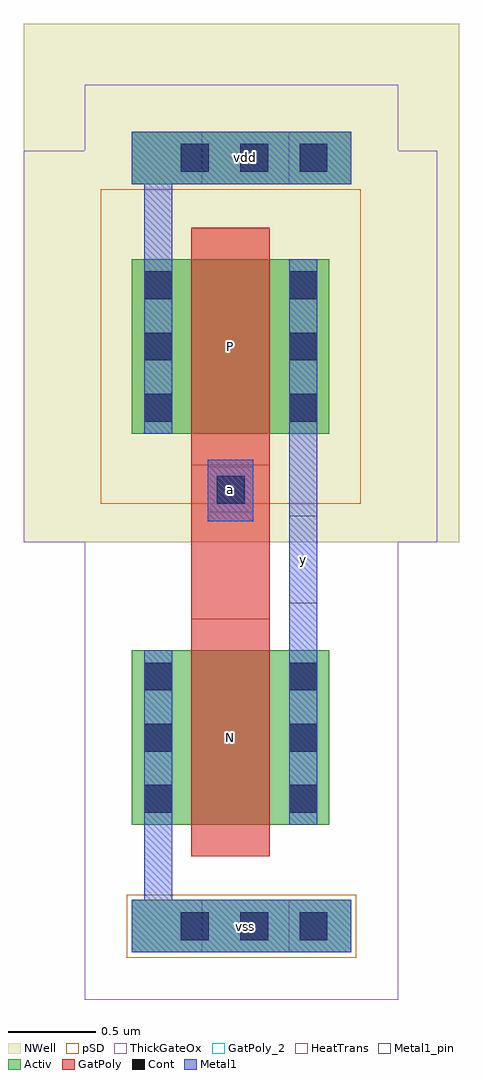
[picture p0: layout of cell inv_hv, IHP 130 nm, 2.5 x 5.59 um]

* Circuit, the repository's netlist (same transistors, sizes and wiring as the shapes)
* SPDX-FileCopyrightText: 2026 Christoph Maier
* SPDX-License-Identifier: Apache-2.0
* inv_hv (Claude, agent D, C4 2026-11-07). hv devices 1u/0.45u; every device as drawn.

.SUBCKT inv_hv a vdd vss y
MP y a vdd vdd sg13_hv_pmos w=1u l=0.45u ng=1 m=1
MN y a vss vss sg13_hv_nmos w=1u l=0.45u ng=1 m=1
.ENDS inv_hv

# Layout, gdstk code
import gdstk
lib = gdstk.Library(unit=1e-6, precision=1e-09)
def R(c, l, rs):  # rectangles x0, y0, x1, y1
    for r in rs: c.add(gdstk.rectangle(r[:2], r[2:], *l))
def A(c, l, x, y, w, h, nx, ny, dx, dy):  # array of equal rectangles
    R(c, l, [(x+i*dx, y+j*dy, x+i*dx+w, y+j*dy+h) for i in range(nx) for j in range(ny)])
Activ = (1, 0)
GatPoly = (5, 0)
GatPoly_2 = (5, 2)
Cont = (6, 0)
Metal1 = (8, 0)
Metal1_pin = (8, 2)
pSD = (14, 0)
NWell = (31, 0)
ThickGateOx = (44, 0)
HeatTrans = (51, 0)

pmoshv_w1_l0p45 = lib.new_cell('pmosHV_w1_l0p45')
R(pmoshv_w1_l0p45, Activ, [(0,0,0.3,0.3), (0,0,1.13,1), (0.83,0,1.13,0.3)])
R(pmoshv_w1_l0p45, GatPoly, [(0.34,-0.18,0.79,1.18)])
R(pmoshv_w1_l0p45, GatPoly_2, [(0.34,-0.18,0.79,1.18)])
A(pmoshv_w1_l0p45, Cont, 0.07, 0.07, 0.16, 0.16, 1, 3, 0, 0.35)
A(pmoshv_w1_l0p45, Cont, 0.9, 0.07, 0.16, 0.16, 1, 3, 0, 0.35)
R(pmoshv_w1_l0p45, Metal1, [(0.07,0,0.23,1), (0.9,0,1.06,1)])
R(pmoshv_w1_l0p45, Metal1_pin, [(0.07,0,0.23,1), (0.9,0,1.06,1)])
R(pmoshv_w1_l0p45, pSD, [(-0.18,-0.4,1.31,1.4)])
R(pmoshv_w1_l0p45, NWell, [(-0.62,-0.62,1.75,1.62)])
R(pmoshv_w1_l0p45, ThickGateOx, [(-0.62,-0.62,1.75,1.62)])
R(pmoshv_w1_l0p45, HeatTrans, [(0.34,-0.18,0.79,1.18)])
pmoshv_w1_l0p45.add(gdstk.Label('pmosHV', (0.565,0.5), layer=63, texttype=0))
pmoshv_w1_l0p45.add(gdstk.Label('pmos', (0.565,0.5), layer=51, texttype=0))

nmoshv_w1_l0p45 = lib.new_cell('nmosHV_w1_l0p45')
R(nmoshv_w1_l0p45, Activ, [(0,0,0.3,0.3), (0,0,1.13,1), (0.83,0,1.13,0.3)])
R(nmoshv_w1_l0p45, GatPoly, [(0.34,-0.18,0.79,1.18)])
R(nmoshv_w1_l0p45, GatPoly_2, [(0.34,-0.18,0.79,1.18)])
A(nmoshv_w1_l0p45, Cont, 0.07, 0.07, 0.16, 0.16, 1, 3, 0, 0.35)
A(nmoshv_w1_l0p45, Cont, 0.9, 0.07, 0.16, 0.16, 1, 3, 0, 0.35)
R(nmoshv_w1_l0p45, Metal1, [(0.07,0,0.23,1), (0.9,0,1.06,1)])
R(nmoshv_w1_l0p45, Metal1_pin, [(0.07,0,0.23,1), (0.9,0,1.06,1)])
R(nmoshv_w1_l0p45, ThickGateOx, [(-0.27,-0.52,1.4,1.52)])
R(nmoshv_w1_l0p45, HeatTrans, [(0.34,-0.18,0.79,1.18)])
nmoshv_w1_l0p45.add(gdstk.Label('nmosHV', (0.565,0.5), layer=63, texttype=0))
nmoshv_w1_l0p45.add(gdstk.Label('nmosHV', (0.565,0.5), layer=51, texttype=0))

inv_hv = lib.new_cell('inv_hv')
R(inv_hv, Activ, [(0,0,1.255,0.3), (0,4.4,1.255,4.7)])
R(inv_hv, GatPoly, [(0.34,1.91,0.79,2.79)])
A(inv_hv, Cont, 0.28, 0.07, 0.16, 0.16, 3, 2, 0.34, 4.4)
R(inv_hv, Cont, [(0.485,2.57,0.645,2.73)])
R(inv_hv, Metal1, [(0,0,1.255,0.3), (0.07,0.3,0.23,0.73), (0.9,1.73,1.06,2.97), (0.435,2.47,0.695,2.82), (0.07,3.97,0.23,4.4), (0,4.4,1.255,4.7)])
R(inv_hv, Metal1_pin, [(0.4,0,0.9,0.3), (0.9,2,1.06,2.5), (0.435,2.52,0.695,2.78), (0.4,4.4,0.9,4.7)])
R(inv_hv, pSD, [(-0.03,-0.03,1.285,0.33)])
R(inv_hv, NWell, [(-0.62,2.35,1.875,5.32)])
R(inv_hv, ThickGateOx, [(-0.27,-0.27,1.525,4.97)])
inv_hv.add(gdstk.Reference(pmoshv_w1_l0p45, (0,2.97)))
inv_hv.add(gdstk.Reference(nmoshv_w1_l0p45, (0,0.73)))
inv_hv.add(gdstk.Label('a', (0.565,2.65), layer=8, texttype=25))
inv_hv.add(gdstk.Label('y', (0.98,2.25), layer=8, texttype=25))
inv_hv.add(gdstk.Label('vdd', (0.65,4.55), layer=8, texttype=25))
inv_hv.add(gdstk.Label('vss', (0.65,0.15), layer=8, texttype=25))
inv_hv.add(gdstk.Label('P', (0.565,3.47), layer=63, texttype=0))
inv_hv.add(gdstk.Label('N', (0.565,1.23), layer=63, texttype=0))

lib.write_gds('inv_hv.gds')
